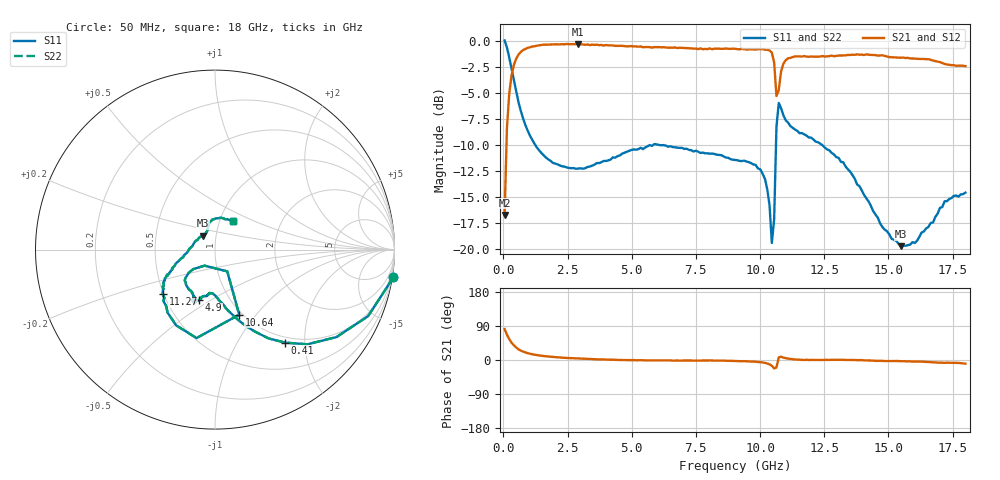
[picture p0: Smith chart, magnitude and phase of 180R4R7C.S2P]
!  American Technical Ceramics  Date:  3/13/98
!  One Norden Lane
!  Huntington Station,  NY.  11746-2102
!  Tel:  (516) 547-5700  Fax:  (516) 547-5748
!  Part Number  180r4r7c
!  Description: Porcelain, High Q, Low ESR
!  Application: Bypass, Coupling, Timing, Feedback
!  Tuning, Impedance Match, Blocking
# GHZ S DB R 50
! Freq  |S11|  S11 Ph  |S21|  S21 Ph  |S12|  S12 Ph  |S22|  S22 Ph
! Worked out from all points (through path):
!   201 points, 50 MHz to 18 GHz, reference 50 ohm
!   highest |S21| = -0.29 dB at 2.92 GHz (marker M1); lowest = -16.7 dB at 50 MHz (marker M2)
!   group delay of S21, straight-line fit = 3.49 ps
!   lowest |S11| = -19.7 dB at 15.49 GHz (marker M3), VSWR 1.23, Z = 43.1 + j6.76 ohm
!   |S11| at or under -10 dB: 1.244 GHz to 5.838 GHz (4.594 GHz wide, 130 % of centre); 6.06 GHz to 10.62 GHz (4.562 GHz wide, 54.7 % of centre); 12.42 GHz to end of sweep
!   |S22| runs from -19.7 to 0.1 dB; largest |S21 - S12| = 0
!   S11 on the Smith chart (normalised r, x): 50 MHz: -0, -13; 410 MHz: 0.90, -1.62; 4.9 GHz: 0.72, -0.45; 10.64 GHz: 0.97, -0.82; 11.27 GHz: 0.49, -0.29; 18 GHz: 1.15, +0.38
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0.05  0.05 -8.8  -16.74 81.7  -16.74 81.7  0.05 -8.8
0.14  -0.63 -23.5  -8.40 66.9  -8.40 66.9  -0.63 -23.5
0.41  -3.75 -53.0  -2.32 38.7  -2.32 38.7  -3.75 -53.0
0.68  -6.71 -67.8  -1.06 24.9  -1.06 24.9  -6.71 -67.8
1.04  -9.12 -77.6  -0.61 16.4  -0.61 16.4  -9.12 -77.6
2.92  -12.27 -95.8  -0.29 4.1  -0.29 4.1  -12.27 -95.8
3.1  -12.28 -97.1  -0.34 3.4  -0.34 3.4  -12.28 -97.1
4.9  -10.57 -107.5  -0.50 -0.6  -0.50 -0.6  -10.57 -107.5
6.06  -10.00 -111.3  -0.59 -1.0  -0.59 -1.0  -10.00 -111.3
9.03  -11.44 -119.7  -0.75 -2.5  -0.75 -2.5  -11.44 -119.7
10.19  -13.25 -136.9  -0.84 -7.5  -0.84 -7.5  -13.25 -136.9
10.37  -15.78 -138.0  -0.91 -11.4  -0.91 -11.4  -15.78 -138.0
10.46  -19.42 -123.2  -1.12 -15.4  -1.12 -15.4  -19.42 -123.2
10.55  -17.13 -60.6  -2.07 -22.1  -2.07 -22.1  -17.13 -60.6
10.64  -8.25 -69.6  -5.29 -19.7  -5.29 -19.7  -8.25 -69.6
10.73  -5.96 -101.8  -4.72 6.6  -4.72 6.6  -5.96 -101.8
10.82  -6.48 -117.2  -2.92 8.9  -2.92 8.9  -6.48 -117.2
11.27  -8.34 -139.4  -1.56 1.9  -1.56 1.9  -8.34 -139.4
12.08  -9.47 -148.2  -1.51 0.2  -1.51 0.2  -9.47 -148.2
15.04  -18.61 155.3  -1.55 -2.7  -1.55 -2.7  -18.61 155.3
15.49  -19.73 131.3  -1.61 -3.1  -1.61 -3.1  -19.73 131.3
18  -14.58 58.3  -2.41 -9.7  -2.41 -9.7  -14.58 58.3
